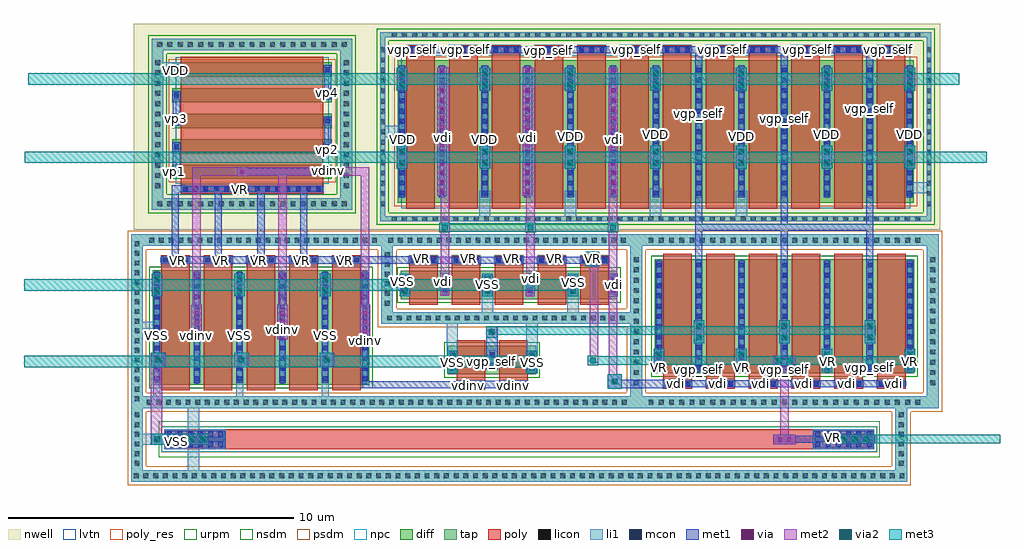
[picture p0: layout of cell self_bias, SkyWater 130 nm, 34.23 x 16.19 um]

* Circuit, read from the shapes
.subckt self_bias VDD VR VSS vdi vdinv vgp_self vp1 vp2 vp3 vp4
XM1 vdinv VR VSS VSS sky130_fd_pr__nfet_01v8 w=4 l=1 m=5
XM2 vdi VR VSS VSS sky130_fd_pr__nfet_01v8 w=1 l=1 m=5
XM3 vgp_self vdinv VSS VSS sky130_fd_pr__nfet_01v8 w=1 l=1 m=2
XM4 vgp_self vdi VR VSS sky130_fd_pr__nfet_01v8 w=4 l=1 m=6
XM5 vdinv VR vp1 VDD sky130_fd_pr__pfet_01v8_lvt w=0.5 l=5
XM6 vp2 VR vp1 VDD sky130_fd_pr__pfet_01v8_lvt w=0.5 l=5
XM7 vp2 VR vp3 VDD sky130_fd_pr__pfet_01v8_lvt w=0.5 l=5
XM8 vp4 VR vp3 VDD sky130_fd_pr__pfet_01v8_lvt w=0.5 l=5
XM9 vp4 VR VDD VDD sky130_fd_pr__pfet_01v8_lvt w=0.5 l=5
XM10 vdi vgp_self VDD VDD sky130_fd_pr__pfet_01v8_lvt w=5 l=1 m=6
XM11 vgp_self vgp_self VDD VDD sky130_fd_pr__pfet_01v8_lvt w=5 l=1 m=6
XR12 VR VSS VSS sky130_fd_pr__res_xhigh_po w=0.69 l=20.58
.ends

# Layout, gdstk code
from math import pi, radians
import gdstk
lib = gdstk.Library(unit=1e-6, precision=1e-09)
def R(c, l, rs):  # rectangles x0, y0, x1, y1
    for r in rs: c.add(gdstk.rectangle(r[:2], r[2:], *l))
def A(c, l, x, y, w, h, nx, ny, dx, dy):  # array of equal rectangles
    R(c, l, [(x+i*dx, y+j*dy, x+i*dx+w, y+j*dy+h) for i in range(nx) for j in range(ny)])
def P(c, l, *ps):  # polygons
    for p in ps: c.add(gdstk.Polygon(p, *l))
nwell = (64, 20)
diff = (65, 20)
tap = (65, 44)
poly_res = (66, 13)
poly = (66, 20)
licon = (66, 44)
li1 = (67, 20)
mcon = (67, 44)
met1 = (68, 20)
via = (68, 44)
met2 = (69, 20)
via2 = (69, 44)
met3 = (70, 20)
urpm = (79, 20)
nsdm = (93, 44)
psdm = (94, 20)
npc = (95, 20)
lvtn = (125, 44)

pfet = lib.new_cell('pfet')
R(pfet, nwell, [(-0.92,-0.945,19.02,6.285)])
R(pfet, diff, [(0,0,18.1,5)])
P(pfet, tap, [(-0.615,-0.64),(-0.615,5.81),(-0.445,5.81),(-0.445,-0.47),(18.545,-0.47),(18.545,5.81),(-0.615,5.81),(-0.615,5.98),(18.715,5.98),(18.715,-0.64)])
A(pfet, poly, 0.3, -0.2, 1, 5.4, 12, 1, 1.5, 0)
A(pfet, poly, 0.3, 5.2, 1, 0.33, 12, 1, 1.5, 0)
A(pfet, licon, -0.215, -0.64, 0.17, 0.17, 52, 2, 0.36, 6.45)
A(pfet, licon, -0.615, -0.115, 0.17, 0.17, 1, 16, 0, 0.36)
A(pfet, licon, 18.545, -0.115, 0.17, 0.17, 1, 16, 0, 0.36)
A(pfet, licon, 0.065, 0.255, 0.17, 0.17, 1, 13, 0, 0.36)
A(pfet, licon, 1.465, 0.255, 0.17, 0.17, 11, 13, 1.5, 0.36)
A(pfet, licon, 17.865, 0.255, 0.17, 0.17, 1, 13, 0, 0.36)
A(pfet, licon, 0.355, 5.28, 0.17, 0.17, 3, 1, 0.36, 0)
A(pfet, licon, 1.855, 5.28, 0.17, 0.17, 3, 1, 0.36, 0)
A(pfet, licon, 3.355, 5.28, 0.17, 0.17, 3, 1, 0.36, 0)
A(pfet, licon, 4.855, 5.28, 0.17, 0.17, 3, 1, 0.36, 0)
A(pfet, licon, 6.355, 5.28, 0.17, 0.17, 3, 1, 0.36, 0)
A(pfet, licon, 7.855, 5.28, 0.17, 0.17, 3, 1, 0.36, 0)
A(pfet, licon, 9.355, 5.28, 0.17, 0.17, 3, 1, 0.36, 0)
A(pfet, licon, 10.855, 5.28, 0.17, 0.17, 3, 1, 0.36, 0)
A(pfet, licon, 12.355, 5.28, 0.17, 0.17, 3, 1, 0.36, 0)
A(pfet, licon, 13.855, 5.28, 0.17, 0.17, 3, 1, 0.36, 0)
A(pfet, licon, 15.355, 5.28, 0.17, 0.17, 3, 1, 0.36, 0)
A(pfet, licon, 16.855, 5.28, 0.17, 0.17, 3, 1, 0.36, 0)
A(pfet, li1, 1.465, 0.175, 0.17, 4.65, 11, 1, 1.5, 0)
A(pfet, li1, 0.275, 5.28, 1.05, 0.17, 12, 1, 1.5, 0)
R(pfet, li1, [(0.065,0.175,0.235,4.825), (17.865,0.175,18.035,4.825)])
P(pfet, li1, [(-0.615,-0.64),(-0.615,5.81),(-0.445,5.81),(-0.445,-0.47),(18.545,-0.47),(18.545,5.81),(-0.615,5.81),(-0.615,5.98),(18.715,5.98),(18.715,-0.64)])
A(pfet, mcon, 0.065, 0.255, 0.17, 0.17, 1, 13, 0, 0.36)
A(pfet, mcon, 1.465, 0.255, 0.17, 0.17, 11, 13, 1.5, 0.36)
A(pfet, mcon, 17.865, 0.255, 0.17, 0.17, 1, 13, 0, 0.36)
A(pfet, mcon, 0.355, 5.28, 0.17, 0.17, 3, 1, 0.36, 0)
A(pfet, mcon, 1.855, 5.28, 0.17, 0.17, 3, 1, 0.36, 0)
A(pfet, mcon, 3.355, 5.28, 0.17, 0.17, 3, 1, 0.36, 0)
A(pfet, mcon, 4.855, 5.28, 0.17, 0.17, 3, 1, 0.36, 0)
A(pfet, mcon, 6.355, 5.28, 0.17, 0.17, 3, 1, 0.36, 0)
A(pfet, mcon, 7.855, 5.28, 0.17, 0.17, 3, 1, 0.36, 0)
A(pfet, mcon, 9.355, 5.28, 0.17, 0.17, 3, 1, 0.36, 0)
A(pfet, mcon, 10.855, 5.28, 0.17, 0.17, 3, 1, 0.36, 0)
A(pfet, mcon, 12.355, 5.28, 0.17, 0.17, 3, 1, 0.36, 0)
A(pfet, mcon, 13.855, 5.28, 0.17, 0.17, 3, 1, 0.36, 0)
A(pfet, mcon, 15.355, 5.28, 0.17, 0.17, 3, 1, 0.36, 0)
A(pfet, mcon, 16.855, 5.28, 0.17, 0.17, 3, 1, 0.36, 0)
A(pfet, met1, 1.435, 0.195, 0.23, 4.61, 11, 1, 1.5, 0)
A(pfet, met1, 0.295, 5.25, 1.01, 0.23, 12, 1, 1.5, 0)
R(pfet, met1, [(0.035,0.195,0.265,4.805), (17.835,0.195,18.065,4.805)])
P(pfet, nsdm, [(-0.74,-0.765),(-0.74,5.685),(-0.32,5.685),(-0.32,-0.345),(18.42,-0.345),(18.42,5.685),(-0.74,5.685),(-0.74,6.105),(18.84,6.105),(18.84,-0.765)])
R(pfet, psdm, [(-0.125,-0.125,18.225,5.125)])
A(pfet, npc, 0.29, 5.19, 1.02, 0.35, 12, 1, 1.5, 0)
R(pfet, lvtn, [(0.12,-0.18,17.98,5.18)])

nfet = lib.new_cell('nfet')
R(nfet, diff, [(0,0,7.6,1)])
A(nfet, poly, 0.3, -0.2, 1, 1.4, 5, 1, 1.5, 0)
A(nfet, poly, 0.3, 1.2, 1, 0.33, 5, 1, 1.5, 0)
A(nfet, licon, 1.465, 0.235, 0.17, 0.17, 4, 2, 1.5, 0.36)
A(nfet, licon, 0.355, 1.28, 0.17, 0.17, 3, 1, 0.36, 0)
A(nfet, licon, 1.855, 1.28, 0.17, 0.17, 3, 1, 0.36, 0)
A(nfet, licon, 3.355, 1.28, 0.17, 0.17, 3, 1, 0.36, 0)
A(nfet, licon, 4.855, 1.28, 0.17, 0.17, 3, 1, 0.36, 0)
A(nfet, licon, 6.355, 1.28, 0.17, 0.17, 3, 1, 0.36, 0)
R(nfet, licon, [(0.065,0.235,0.235,0.405), (7.365,0.235,7.535,0.405), (0.065,0.595,0.235,0.765), (7.365,0.595,7.535,0.765)])
A(nfet, li1, 1.465, 0.155, 0.17, 0.69, 4, 1, 1.5, 0)
A(nfet, li1, 0.275, 1.28, 1.05, 0.17, 5, 1, 1.5, 0)
R(nfet, li1, [(0.065,0.155,0.235,0.845), (7.365,0.155,7.535,0.845)])
A(nfet, mcon, 1.465, 0.235, 0.17, 0.17, 4, 2, 1.5, 0.36)
A(nfet, mcon, 0.355, 1.28, 0.17, 0.17, 3, 1, 0.36, 0)
A(nfet, mcon, 1.855, 1.28, 0.17, 0.17, 3, 1, 0.36, 0)
A(nfet, mcon, 3.355, 1.28, 0.17, 0.17, 3, 1, 0.36, 0)
A(nfet, mcon, 4.855, 1.28, 0.17, 0.17, 3, 1, 0.36, 0)
A(nfet, mcon, 6.355, 1.28, 0.17, 0.17, 3, 1, 0.36, 0)
R(nfet, mcon, [(0.065,0.235,0.235,0.405), (7.365,0.235,7.535,0.405), (0.065,0.595,0.235,0.765), (7.365,0.595,7.535,0.765)])
A(nfet, met1, 1.435, 0.175, 0.23, 0.65, 4, 1, 1.5, 0)
A(nfet, met1, 0.295, 1.25, 1.01, 0.23, 5, 1, 1.5, 0)
R(nfet, met1, [(0.035,0.175,0.265,0.825), (7.335,0.175,7.565,0.825)])
R(nfet, nsdm, [(-0.125,-0.125,7.725,1.125)])
A(nfet, npc, 0.29, 1.19, 1.02, 0.35, 5, 1, 1.5, 0)

nfet_1 = lib.new_cell('nfet$1')
R(nfet_1, diff, [(0,0,9.1,4)])
P(nfet_1, tap, [(-0.855,-0.88),(-0.855,4.81),(-0.445,4.81),(-0.445,-0.47),(9.545,-0.47),(9.545,4.81),(-0.855,4.81),(-0.855,5.22),(9.955,5.22),(9.955,-0.88)])
A(nfet_1, poly, 0.3, -0.2, 1, 4.4, 6, 1, 1.5, 0)
A(nfet_1, poly, 0.3, 4.2, 1, 0.33, 6, 1, 1.5, 0)
A(nfet_1, licon, -0.215, -0.76, 0.17, 0.17, 27, 2, 0.36, 5.69)
A(nfet_1, licon, -0.735, -0.075, 0.17, 0.17, 1, 13, 0, 0.36)
A(nfet_1, licon, 9.665, -0.075, 0.17, 0.17, 1, 13, 0, 0.36)
A(nfet_1, licon, 0.065, 0.115, 0.17, 0.17, 1, 11, 0, 0.36)
A(nfet_1, licon, 1.465, 0.115, 0.17, 0.17, 5, 11, 1.5, 0.36)
A(nfet_1, licon, 8.865, 0.115, 0.17, 0.17, 1, 11, 0, 0.36)
A(nfet_1, licon, 0.355, 4.28, 0.17, 0.17, 3, 1, 0.36, 0)
A(nfet_1, licon, 1.855, 4.28, 0.17, 0.17, 3, 1, 0.36, 0)
A(nfet_1, licon, 3.355, 4.28, 0.17, 0.17, 3, 1, 0.36, 0)
A(nfet_1, licon, 4.855, 4.28, 0.17, 0.17, 3, 1, 0.36, 0)
A(nfet_1, licon, 6.355, 4.28, 0.17, 0.17, 3, 1, 0.36, 0)
A(nfet_1, licon, 7.855, 4.28, 0.17, 0.17, 3, 1, 0.36, 0)
A(nfet_1, li1, 1.465, 0.035, 0.17, 3.93, 5, 1, 1.5, 0)
A(nfet_1, li1, 0.275, 4.28, 1.05, 0.17, 6, 1, 1.5, 0)
R(nfet_1, li1, [(0.065,0.035,0.235,3.965), (8.865,0.035,9.035,3.965)])
P(nfet_1, li1, [(-0.855,-0.88),(-0.855,4.81),(-0.445,4.81),(-0.445,-0.47),(9.545,-0.47),(9.545,4.81),(-0.855,4.81),(-0.855,5.22),(9.955,5.22),(9.955,-0.88)])
A(nfet_1, mcon, 0.065, 0.115, 0.17, 0.17, 1, 11, 0, 0.36)
A(nfet_1, mcon, 1.465, 0.115, 0.17, 0.17, 5, 11, 1.5, 0.36)
A(nfet_1, mcon, 8.865, 0.115, 0.17, 0.17, 1, 11, 0, 0.36)
A(nfet_1, mcon, 0.355, 4.28, 0.17, 0.17, 3, 1, 0.36, 0)
A(nfet_1, mcon, 1.855, 4.28, 0.17, 0.17, 3, 1, 0.36, 0)
A(nfet_1, mcon, 3.355, 4.28, 0.17, 0.17, 3, 1, 0.36, 0)
A(nfet_1, mcon, 4.855, 4.28, 0.17, 0.17, 3, 1, 0.36, 0)
A(nfet_1, mcon, 6.355, 4.28, 0.17, 0.17, 3, 1, 0.36, 0)
A(nfet_1, mcon, 7.855, 4.28, 0.17, 0.17, 3, 1, 0.36, 0)
A(nfet_1, met1, 1.435, 0.055, 0.23, 3.89, 5, 1, 1.5, 0)
A(nfet_1, met1, 0.295, 4.25, 1.01, 0.23, 6, 1, 1.5, 0)
R(nfet_1, met1, [(0.035,0.055,0.265,3.945), (8.835,0.055,9.065,3.945)])
R(nfet_1, nsdm, [(-0.125,-0.125,9.225,4.125)])
P(nfet_1, psdm, [(-0.98,-1.005),(-0.98,4.685),(-0.32,4.685),(-0.32,-0.345),(9.42,-0.345),(9.42,4.685),(-0.98,4.685),(-0.98,5.345),(10.08,5.345),(10.08,-1.005)])
A(nfet_1, npc, 0.29, 4.19, 1.02, 0.35, 6, 1, 1.5, 0)

vias_gen_3 = lib.new_cell('vias_gen$3')
R(vias_gen_3, tap, [(0,0,0.41,2.32)])
A(vias_gen_3, licon, 0.12, 0.225, 0.17, 0.17, 1, 6, 0, 0.34)
R(vias_gen_3, li1, [(0,0,0.41,2.32)])
R(vias_gen_3, psdm, [(-0.125,-0.125,0.535,2.445)])

vias_gen = lib.new_cell('vias_gen')
R(vias_gen, tap, [(0,0,8.66,0.41)])
A(vias_gen, licon, 0.165, 0.12, 0.17, 0.17, 25, 1, 0.34, 0)
R(vias_gen, li1, [(0,0,8.66,0.41)])
R(vias_gen, psdm, [(-0.125,-0.125,8.785,0.535)])

nfet_5 = lib.new_cell('nfet$5')
R(nfet_5, diff, [(0,0,3.1,1)])
R(nfet_5, poly, [(0.3,-0.2,1.3,1.2), (1.8,-0.2,2.8,1.2), (0.3,1.2,1.3,1.53), (1.8,1.2,2.8,1.53)])
A(nfet_5, licon, 0.065, 0.235, 0.17, 0.17, 3, 2, 1.4, 0.36)
A(nfet_5, licon, 0.355, 1.28, 0.17, 0.17, 3, 1, 0.36, 0)
A(nfet_5, licon, 1.855, 1.28, 0.17, 0.17, 3, 1, 0.36, 0)
A(nfet_5, li1, 0.065, 0.155, 0.17, 0.69, 3, 1, 1.4, 0)
R(nfet_5, li1, [(0.275,1.28,1.325,1.45), (1.775,1.28,2.825,1.45)])
A(nfet_5, mcon, 0.065, 0.235, 0.17, 0.17, 3, 2, 1.4, 0.36)
A(nfet_5, mcon, 0.355, 1.28, 0.17, 0.17, 3, 1, 0.36, 0)
A(nfet_5, mcon, 1.855, 1.28, 0.17, 0.17, 3, 1, 0.36, 0)
A(nfet_5, met1, 0.035, 0.175, 0.23, 0.65, 3, 1, 1.4, 0)
R(nfet_5, met1, [(0.295,1.25,1.305,1.48), (1.795,1.25,2.805,1.48)])
R(nfet_5, nsdm, [(-0.125,-0.125,3.225,1.125)])
R(nfet_5, npc, [(0.29,1.19,1.31,1.54), (1.79,1.19,2.81,1.54)])

res_poly = lib.new_cell('res_poly')
R(res_poly, poly_res, [(-0.345,-10.35,0.345,10.35)])
R(res_poly, poly, [(-0.345,-12.45,0.345,12.45)])
R(res_poly, licon, [(-0.095,-12.37,0.095,-10.37), (-0.095,10.37,0.095,12.37)])
R(res_poly, li1, [(-0.345,-12.45,0.345,-10.29), (-0.345,10.29,0.345,12.45)])
A(res_poly, mcon, -0.265, -12.35, 0.17, 0.17, 1, 6, 0, 0.36)
A(res_poly, mcon, 0.095, -12.35, 0.17, 0.17, 1, 6, 0, 0.36)
A(res_poly, mcon, -0.265, 10.385, 0.17, 0.17, 1, 6, 0, 0.36)
A(res_poly, mcon, 0.095, 10.385, 0.17, 0.17, 1, 6, 0, 0.36)
R(res_poly, met1, [(-0.295,-12.42,0.295,-10.315), (-0.295,10.315,0.295,12.42)])
R(res_poly, urpm, [(-0.635,-12.65,0.635,12.65)])
R(res_poly, psdm, [(-0.455,-12.56,0.455,12.56)])
R(res_poly, npc, [(-0.44,-12.545,0.44,12.545)])

nfet_3 = lib.new_cell('nfet$3')
R(nfet_3, diff, [(0,0,7.6,4)])
A(nfet_3, poly, 0.3, -0.2, 1, 4.4, 5, 1, 1.5, 0)
A(nfet_3, poly, 0.3, 4.2, 1, 0.33, 5, 1, 1.5, 0)
A(nfet_3, licon, 0.065, 0.115, 0.17, 0.17, 1, 11, 0, 0.36)
A(nfet_3, licon, 1.465, 0.115, 0.17, 0.17, 4, 11, 1.5, 0.36)
A(nfet_3, licon, 7.365, 0.115, 0.17, 0.17, 1, 11, 0, 0.36)
A(nfet_3, licon, 0.355, 4.28, 0.17, 0.17, 3, 1, 0.36, 0)
A(nfet_3, licon, 1.855, 4.28, 0.17, 0.17, 3, 1, 0.36, 0)
A(nfet_3, licon, 3.355, 4.28, 0.17, 0.17, 3, 1, 0.36, 0)
A(nfet_3, licon, 4.855, 4.28, 0.17, 0.17, 3, 1, 0.36, 0)
A(nfet_3, licon, 6.355, 4.28, 0.17, 0.17, 3, 1, 0.36, 0)
A(nfet_3, li1, 1.465, 0.035, 0.17, 3.93, 4, 1, 1.5, 0)
A(nfet_3, li1, 0.275, 4.28, 1.05, 0.17, 5, 1, 1.5, 0)
R(nfet_3, li1, [(0.065,0.035,0.235,3.965), (7.365,0.035,7.535,3.965)])
A(nfet_3, mcon, 0.065, 0.115, 0.17, 0.17, 1, 11, 0, 0.36)
A(nfet_3, mcon, 1.465, 0.115, 0.17, 0.17, 4, 11, 1.5, 0.36)
A(nfet_3, mcon, 7.365, 0.115, 0.17, 0.17, 1, 11, 0, 0.36)
A(nfet_3, mcon, 0.355, 4.28, 0.17, 0.17, 3, 1, 0.36, 0)
A(nfet_3, mcon, 1.855, 4.28, 0.17, 0.17, 3, 1, 0.36, 0)
A(nfet_3, mcon, 3.355, 4.28, 0.17, 0.17, 3, 1, 0.36, 0)
A(nfet_3, mcon, 4.855, 4.28, 0.17, 0.17, 3, 1, 0.36, 0)
A(nfet_3, mcon, 6.355, 4.28, 0.17, 0.17, 3, 1, 0.36, 0)
A(nfet_3, met1, 1.435, 0.055, 0.23, 3.89, 4, 1, 1.5, 0)
A(nfet_3, met1, 0.295, 4.25, 1.01, 0.23, 5, 1, 1.5, 0)
R(nfet_3, met1, [(0.035,0.055,0.265,3.945), (7.335,0.055,7.565,3.945)])
R(nfet_3, nsdm, [(-0.125,-0.125,7.725,4.125)])
A(nfet_3, npc, 0.29, 4.19, 1.02, 0.35, 5, 1, 1.5, 0)

vias_gen_1 = lib.new_cell('vias_gen$1')
R(vias_gen_1, tap, [(0,0,17.1,0.41)])
A(vias_gen_1, licon, 0.135, 0.12, 0.17, 0.17, 50, 1, 0.34, 0)
R(vias_gen_1, li1, [(0,0,17.1,0.41)])
R(vias_gen_1, psdm, [(-0.125,-0.125,17.225,0.535)])

vias_gen_2 = lib.new_cell('vias_gen$2')
R(vias_gen_2, tap, [(0,0,8.45,0.41)])
A(vias_gen_2, licon, 0.23, 0.12, 0.17, 0.17, 24, 1, 0.34, 0)
R(vias_gen_2, li1, [(0,0,8.45,0.41)])
R(vias_gen_2, psdm, [(-0.125,-0.125,8.575,0.535)])

vias_gen_4 = lib.new_cell('vias_gen$4')
R(vias_gen_4, tap, [(0,0,0.41,6.1)])
A(vias_gen_4, licon, 0.12, 0.245, 0.17, 0.17, 1, 17, 0, 0.34)
R(vias_gen_4, li1, [(0,0,0.41,6.1)])
R(vias_gen_4, psdm, [(-0.125,-0.125,0.535,6.225)])

guard_ring_gen = lib.new_cell('guard_ring_gen')
P(guard_ring_gen, tap, [(-0.41,-0.41),(-0.41,5.18),(0,5.18),(0,0),(6.21,0),(6.21,5.18),(-0.41,5.18),(-0.41,5.59),(6.62,5.59),(6.62,-0.41)])
A(guard_ring_gen, licon, -0.22, -0.29, 0.17, 0.17, 19, 2, 0.36, 5.59)
A(guard_ring_gen, licon, -0.29, 0.345, 0.17, 0.17, 1, 13, 0, 0.36)
A(guard_ring_gen, licon, 6.33, 0.345, 0.17, 0.17, 1, 13, 0, 0.36)
P(guard_ring_gen, li1, [(-0.41,-0.41),(-0.41,5.18),(0,5.18),(0,0),(6.21,0),(6.21,5.18),(-0.41,5.18),(-0.41,5.59),(6.62,5.59),(6.62,-0.41)])
P(guard_ring_gen, nsdm, [(-0.535,-0.535),(-0.535,5.055),(0.125,5.055),(0.125,0.125),(6.085,0.125),(6.085,5.055),(-0.535,5.055),(-0.535,5.715),(6.745,5.715),(6.745,-0.535)])

vias_gen_8 = lib.new_cell('vias_gen$8')
R(vias_gen_8, tap, [(0,0,27.21,0.41)])
A(vias_gen_8, licon, 0.09, 0.12, 0.17, 0.17, 80, 1, 0.34, 0)
R(vias_gen_8, li1, [(0,0,27.21,0.41)])
R(vias_gen_8, psdm, [(-0.125,-0.125,27.335,0.535)])

vias_gen_7 = lib.new_cell('vias_gen$7')
R(vias_gen_7, tap, [(0,0,0.41,2.17)])
A(vias_gen_7, licon, 0.12, 0.15, 0.17, 0.17, 1, 6, 0, 0.34)
R(vias_gen_7, li1, [(0,0,0.41,2.17)])
R(vias_gen_7, psdm, [(-0.125,-0.125,0.535,2.295)])

vias_gen_9 = lib.new_cell('vias_gen$9')
R(vias_gen_9, tap, [(0,0,8.74,0.41)])
A(vias_gen_9, licon, 0.205, 0.12, 0.17, 0.17, 25, 1, 0.34, 0)
R(vias_gen_9, li1, [(0,0,8.74,0.41)])
R(vias_gen_9, psdm, [(-0.125,-0.125,8.865,0.535)])

vias_gen_10 = lib.new_cell('vias_gen$10')
R(vias_gen_10, met1, [(0,0,0.32,0.8)])
R(vias_gen_10, via, [(0.085,0.165,0.235,0.315), (0.085,0.485,0.235,0.635)])
R(vias_gen_10, met2, [(0,0,0.32,0.8)])

vias_gen_12 = lib.new_cell('vias_gen$12')
R(vias_gen_12, met1, [(0,0,0.32,4.5)])
A(vias_gen_12, via, 0.085, 0.095, 0.15, 0.15, 1, 14, 0, 0.32)
R(vias_gen_12, met2, [(0,0,0.32,4.5)])

vias_gen_15 = lib.new_cell('vias_gen$15')
R(vias_gen_15, met2, [(0,0,0.37,0.33)])
R(vias_gen_15, via2, [(0.085,0.065,0.285,0.265)])
R(vias_gen_15, met3, [(0,0,0.37,0.33)])

vias_gen_14 = lib.new_cell('vias_gen$14')
R(vias_gen_14, met1, [(0,0,0.37,0.8)])
R(vias_gen_14, via, [(0.11,0.165,0.26,0.315), (0.11,0.485,0.26,0.635)])
R(vias_gen_14, met2, [(0,0,0.37,0.8)])
R(vias_gen_14, via2, [(0.085,0.1,0.285,0.3), (0.085,0.5,0.285,0.7)])
R(vias_gen_14, met3, [(0,0,0.37,0.8)])

vias_gen_16 = lib.new_cell('vias_gen$16')
R(vias_gen_16, met2, [(0,0,0.8,0.33)])
R(vias_gen_16, via2, [(0.1,0.065,0.3,0.265), (0.5,0.065,0.7,0.265)])
R(vias_gen_16, met3, [(0,0,0.8,0.33)])

vias_gen_18 = lib.new_cell('vias_gen$18')
R(vias_gen_18, met1, [(0,0,0.8,0.33)])
R(vias_gen_18, via, [(0.165,0.09,0.315,0.24), (0.485,0.09,0.635,0.24)])
R(vias_gen_18, met2, [(0,0,0.8,0.33)])

vias_gen_19 = lib.new_cell('vias_gen$19')
R(vias_gen_19, met1, [(0,0,0.37,0.4)])
R(vias_gen_19, via, [(0.11,0.125,0.26,0.275)])
R(vias_gen_19, met2, [(0,0,0.37,0.4)])
R(vias_gen_19, via2, [(0.085,0.1,0.285,0.3)])
R(vias_gen_19, met3, [(0,0,0.37,0.4)])

vias_gen_21 = lib.new_cell('vias_gen$21')
R(vias_gen_21, met1, [(0,0,0.37,1.2)])
A(vias_gen_21, via, 0.11, 0.205, 0.15, 0.15, 1, 3, 0, 0.32)
R(vias_gen_21, met2, [(0,0,0.37,1.2)])

vias_gen_22 = lib.new_cell('vias_gen$22')
R(vias_gen_22, met1, [(0,0,0.37,0.33)])
R(vias_gen_22, via, [(0.11,0.09,0.26,0.24)])
R(vias_gen_22, met2, [(0,0,0.37,0.33)])

vias_gen_23 = lib.new_cell('vias_gen$23')
R(vias_gen_23, met1, [(0,0,2,0.4)])
A(vias_gen_23, via, 0.125, 0.125, 0.15, 0.15, 6, 1, 0.32, 0)
R(vias_gen_23, met2, [(0,0,2,0.4)])
A(vias_gen_23, via2, 0.1, 0.1, 0.2, 0.2, 5, 1, 0.4, 0)
R(vias_gen_23, met3, [(0,0,2,0.4)])

vias_gen_24 = lib.new_cell('vias_gen$24')
R(vias_gen_24, met1, [(0,0,0.5,0.5)])
R(vias_gen_24, via, [(0.175,0.175,0.325,0.325)])
R(vias_gen_24, met2, [(0,0,0.5,0.5)])
R(vias_gen_24, via2, [(0.15,0.15,0.35,0.35)])
R(vias_gen_24, met3, [(0,0,0.5,0.5)])

vias_gen_27 = lib.new_cell('vias_gen$27')
R(vias_gen_27, met1, [(0,0,1.2,0.33)])
A(vias_gen_27, via, 0.205, 0.09, 0.15, 0.15, 3, 1, 0.32, 0)
R(vias_gen_27, met2, [(0,0,1.2,0.33)])
A(vias_gen_27, via2, 0.1, 0.065, 0.2, 0.2, 3, 1, 0.4, 0)
R(vias_gen_27, met3, [(0,0,1.2,0.33)])

self_bias = lib.new_cell('self_bias')
R(self_bias, nwell, [(0.495,7.04,28.78,14.275), (1.71,7.91,7.92,13.34)])
A(self_bias, diff, 1.85, 9.715, 5.6, 0.5, 1, 4, 0, 0.9)
R(self_bias, diff, [(1.85,8.835,7.45,9.335)])
A(self_bias, poly, 2.15, 9.515, 5, 0.9, 1, 4, 0, 0.9)
R(self_bias, poly, [(2.15,8.31,7.15,8.64), (2.15,8.635,7.15,9.535)])
A(self_bias, licon, 2.225, 8.39, 0.17, 0.17, 14, 1, 0.36, 0)
A(self_bias, licon, 1.915, 9.88, 0.17, 0.17, 1, 4, 0, 0.9)
A(self_bias, licon, 7.215, 9.88, 0.17, 0.17, 1, 4, 0, 0.9)
R(self_bias, licon, [(1.915,9,2.085,9.17), (7.215,9,7.385,9.17)])
A(self_bias, li1, 1.915, 9.8, 0.17, 0.33, 1, 4, 0, 0.9)
A(self_bias, li1, 7.215, 9.8, 0.17, 0.33, 1, 4, 0, 0.9)
R(self_bias, li1, [(2.145,8.39,7.155,8.56), (1.915,8.92,2.085,9.25), (7.215,8.92,7.385,9.25)])
A(self_bias, mcon, 2.225, 8.39, 0.17, 0.17, 14, 1, 0.36, 0)
A(self_bias, mcon, 1.915, 9.88, 0.17, 0.17, 1, 4, 0, 0.9)
A(self_bias, mcon, 7.215, 9.88, 0.17, 0.17, 1, 4, 0, 0.9)
R(self_bias, mcon, [(1.915,9,2.085,9.17), (7.215,9,7.385,9.17)])
A(self_bias, met1, 1.855, 9.82, 0.29, 0.29, 1, 4, 0, 0.9)
A(self_bias, met1, 7.155, 9.82, 0.29, 0.29, 1, 4, 0, 0.9)
R(self_bias, met1, [(2.165,8.36,7.135,8.59), (1.855,8.94,2.145,9.23)])
R(self_bias, psdm, [(1.725,8.71,7.575,13.03)])
R(self_bias, npc, [(2.14,8.3,7.16,8.65)])
R(self_bias, lvtn, [(1.97,8.655,7.33,13.1)])
self_bias.add(gdstk.FlexPath([(1.31,3.705),(0.41,3.705)], 0.25, ends="flush", simple_path=True, layer=67, datatype=20))  # li1
self_bias.add(gdstk.FlexPath([(1.31,1.905),(1.31,0.79)], 0.25, ends="flush", simple_path=True, layer=67, datatype=20))  # li1
self_bias.add(gdstk.FlexPath([(4.22,2.16),(4.22,0.79)], 0.25, ends="flush", simple_path=True, layer=67, datatype=20))  # li1
self_bias.add(gdstk.FlexPath([(7.21,2.455),(7.21,0.79)], 0.25, ends="flush", simple_path=True, layer=67, datatype=20))  # li1
self_bias.add(gdstk.FlexPath([(2.15,12.665),(1.13,12.665)], 0.5, ends="flush", simple_path=True, layer=67, datatype=20))  # li1
self_bias.add(gdstk.FlexPath([(10.125,5.11),(9.18,5.11)], 0.4, ends="flush", simple_path=True, layer=67, datatype=20))  # li1
self_bias.add(gdstk.FlexPath([(12.91,5.435),(12.91,3.75)], 0.4, ends="flush", simple_path=True, layer=67, datatype=20))  # li1
self_bias.add(gdstk.FlexPath([(15.91,5.435),(15.91,3.87)], 0.4, ends="flush", simple_path=True, layer=67, datatype=20))  # li1
self_bias.add(gdstk.FlexPath([(18.8,8.51),(18.8,7.35)], 0.4, ends="flush", simple_path=True, layer=67, datatype=20))  # li1
self_bias.add(gdstk.FlexPath([(21.81,8.415),(21.81,7.35)], 0.4, ends="flush", simple_path=True, layer=67, datatype=20))  # li1
self_bias.add(gdstk.FlexPath([(27.595,8.52),(28.475,8.52)], 0.4, ends="flush", simple_path=True, layer=67, datatype=20))  # li1
self_bias.add(gdstk.FlexPath([(15.81,8.415),(15.81,7.35)], 0.4, ends="flush", simple_path=True, layer=67, datatype=20))  # li1
self_bias.add(gdstk.FlexPath([(12.81,8.415),(12.81,7.35)], 0.4, ends="flush", simple_path=True, layer=67, datatype=20))  # li1
self_bias.add(gdstk.FlexPath([(10.025,10.49),(9.145,10.49)], 0.4, ends="flush", simple_path=True, layer=67, datatype=20))  # li1
self_bias.add(gdstk.FlexPath([(1.59,-0.3),(0.41,-0.3)], 0.4, ends="flush", simple_path=True, layer=67, datatype=20))  # li1
self_bias.add(gdstk.FlexPath([(2.59,-0.005),(2.59,1.2)], 0.4, ends="flush", simple_path=True, layer=67, datatype=20))  # li1
self_bias.add(gdstk.FlexPath([(2.59,-0.395),(2.59,-1.5)], 0.4, ends="flush", simple_path=True, layer=67, datatype=20))  # li1
self_bias.add(gdstk.FlexPath([(14.47,2.375),(14.47,4.04)], 0.4, ends="flush", simple_path=True, layer=67, datatype=20))  # li1
self_bias.add(gdstk.FlexPath([(11.67,2.375),(11.67,4.16)], 0.4, ends="flush", simple_path=True, layer=67, datatype=20))  # li1
self_bias.add(gdstk.FlexPath([(14.47,2.93),(14.47,2.01)], 0.4, ends="flush", simple_path=True, layer=67, datatype=20))  # li1
self_bias.add(gdstk.FlexPath([(20.31,12.815),(20.31,2.065)], 0.25, ends="flush", simple_path=True, layer=68, datatype=20))  # met1
self_bias.add(gdstk.FlexPath([(26.31,12.815),(26.31,2.065)], 0.25, ends="flush", simple_path=True, layer=68, datatype=20))  # met1
self_bias.add(gdstk.FlexPath([(17.165,5.975),(10.135,5.975)], 0.25, ends="flush", simple_path=True, layer=68, datatype=20))  # met1
self_bias.add(gdstk.FlexPath([(10.055,13.355),(27.585,13.355)], 0.25, ends="flush", simple_path=True, layer=68, datatype=20))  # met1
self_bias.add(gdstk.FlexPath([(26.31,12.735),(26.31,13.355)], 0.25, ends="flush", simple_path=True, layer=68, datatype=20))  # met1
self_bias.add(gdstk.FlexPath([(23.31,12.565),(23.31,13.48)], 0.25, ends="flush", simple_path=True, layer=68, datatype=20))  # met1
self_bias.add(gdstk.FlexPath([(20.31,12.565),(20.31,13.48)], 0.25, ends="flush", simple_path=True, layer=68, datatype=20))  # met1
self_bias.add(gdstk.FlexPath([(27.515,1.645),(19.045,1.645)], 0.25, ends="flush", simple_path=True, layer=68, datatype=20))  # met1
self_bias.add(gdstk.FlexPath([(26.435,7.14),(20.185,7.14)], 0.25, ends="flush", simple_path=True, layer=68, datatype=20))  # met1
self_bias.add(gdstk.FlexPath([(23.31,12.815),(23.31,2.045)], 0.25, ends="flush", simple_path=True, layer=68, datatype=20))  # met1
self_bias.add(gdstk.FlexPath([(22.92,-0.305),(26.5,-0.305)], 0.25, ends="flush", simple_path=True, layer=68, datatype=20))  # met1
self_bias.add(gdstk.FlexPath([(7.44,9.085),(4.12,9.085)], 0.25, ends="flush", simple_path=True, layer=68, datatype=20))  # met1
self_bias.add(gdstk.FlexPath([(2,8.94),(2,10.11)], 0.25, ends="flush", simple_path=True, layer=68, datatype=20))  # met1
self_bias.add(gdstk.FlexPath([(7.3,9.82),(7.3,11.01)], 0.25, ends="flush", simple_path=True, layer=68, datatype=20))  # met1
self_bias.add(gdstk.FlexPath([(2,10.72),(2,11.91)], 0.25, ends="flush", simple_path=True, layer=68, datatype=20))  # met1
self_bias.add(gdstk.FlexPath([(7.3,11.62),(7.3,12.81)], 0.25, ends="flush", simple_path=True, layer=68, datatype=20))  # met1
self_bias.add(gdstk.FlexPath([(6.46,5.87),(6.46,8.56)], 0.25, ends="flush", simple_path=True, layer=68, datatype=20))  # met1
self_bias.add(gdstk.FlexPath([(4.96,5.87),(4.96,8.56)], 0.25, ends="flush", simple_path=True, layer=68, datatype=20))  # met1
self_bias.add(gdstk.FlexPath([(3.46,5.87),(3.46,8.56)], 0.25, ends="flush", simple_path=True, layer=68, datatype=20))  # met1
self_bias.add(gdstk.FlexPath([(1.96,5.9),(1.96,8.48),(2.3,8.48)], 0.25, ends="flush", simple_path=True, layer=68, datatype=20))  # met1
self_bias.add(gdstk.FlexPath([(1.455,5.985),(8.32,5.985)], 0.25, ends="flush", simple_path=True, layer=68, datatype=20))  # met1
self_bias.add(gdstk.FlexPath([(11.81,1.62),(14.32,1.62)], 0.25, ends="flush", simple_path=True, layer=68, datatype=20))  # met1
self_bias.add(gdstk.FlexPath([(8.235,5.985),(10.935,5.985)], 0.25, ends="flush", simple_path=True, layer=68, datatype=20))  # met1
self_bias.add(gdstk.FlexPath([(13.07,2.135),(13.07,3.66)], 0.4, ends="flush", simple_path=True, layer=68, datatype=20))  # met1
self_bias.add(gdstk.FlexPath([(12.045,1.615),(8.495,1.615)], 0.25, ends="flush", simple_path=True, layer=68, datatype=20))  # met1
self_bias.add(gdstk.FlexPath([(19.295,1.645),(17.12,1.645)], 0.3, ends="flush", simple_path=True, layer=68, datatype=20))  # met1
self_bias.add(gdstk.FlexPath([(11.41,4.73),(11.41,12.74)], 0.3, ends="flush", simple_path=True, layer=69, datatype=20))  # met2
self_bias.add(gdstk.FlexPath([(14.41,4.71),(14.41,12.735)], 0.3, ends="flush", simple_path=True, layer=69, datatype=20))  # met2
self_bias.add(gdstk.FlexPath([(17.31,4.7),(17.31,12.73)], 0.3, ends="flush", simple_path=True, layer=69, datatype=20))  # met2
self_bias.add(gdstk.FlexPath([(23.32,2.63),(23.32,-0.47)], 0.3, ends="flush", simple_path=True, layer=69, datatype=20))  # met2
self_bias.add(gdstk.FlexPath([(2.705,4.2),(2.705,9.235)], 0.3, ends="flush", simple_path=True, layer=69, datatype=20))  # met2
self_bias.add(gdstk.FlexPath([(5.71,4.2),(5.71,9.235)], 0.3, ends="flush", simple_path=True, layer=69, datatype=20))  # met2
self_bias.add(gdstk.FlexPath([(8.61,4.2),(8.61,9.23)], 0.3, ends="flush", simple_path=True, layer=69, datatype=20))  # met2
self_bias.add(gdstk.FlexPath([(7.45,9.085),(2.555,9.085)], 0.3, ends="flush", simple_path=True, layer=69, datatype=20))  # met2
self_bias.add(gdstk.FlexPath([(7.07,9.085),(8.76,9.085)], 0.3, ends="flush", simple_path=True, layer=69, datatype=20))  # met2
self_bias.add(gdstk.FlexPath([(16.645,6.13),(16.645,2.3)], 0.3, ends="flush", simple_path=True, layer=69, datatype=20))  # met2
self_bias.add(gdstk.FlexPath([(1.29,2.73),(1.29,-0.5)], 0.4, ends="flush", simple_path=True, layer=69, datatype=20))  # met2
self_bias.add(gdstk.FlexPath([(17.31,5.015),(17.31,1.48)], 0.3, ends="flush", simple_path=True, layer=69, datatype=20))  # met2
self_bias.add(gdstk.FlexPath([(17.49,7.125),(11.22,7.125)], 0.3, ends="flush", simple_path=True, layer=70, datatype=20))  # met3
self_bias.add(gdstk.FlexPath([(27.91,2.47),(18.73,2.47)], 0.3, ends="flush", simple_path=True, layer=70, datatype=20))  # met3
self_bias.add(gdstk.FlexPath([(12.87,3.51),(26.52,3.51)], 0.3, ends="flush", simple_path=True, layer=70, datatype=20))  # met3
self_bias.add(gdstk.FlexPath([(19.1,2.47),(16.495,2.47)], 0.3, ends="flush", simple_path=True, layer=70, datatype=20))  # met3
self_bias.add(gdstk.FlexPath([(29.45,12.33),(-3.2,12.33)], 0.4, ends="flush", simple_path=True, layer=70, datatype=20))  # met3
self_bias.add(gdstk.FlexPath([(30.42,9.59),(-3.33,9.59)], 0.4, ends="flush", simple_path=True, layer=70, datatype=20))  # met3
self_bias.add(gdstk.FlexPath([(16.09,5.11),(-3.35,5.11)], 0.4, ends="flush", simple_path=True, layer=70, datatype=20))  # met3
self_bias.add(gdstk.FlexPath([(14.65,2.43),(-3.35,2.43)], 0.4, ends="flush", simple_path=True, layer=70, datatype=20))  # met3
self_bias.add(gdstk.FlexPath([(25.2,-0.295),(30.88,-0.295)], 0.3, ends="flush", simple_path=True, layer=70, datatype=20))  # met3
self_bias.add(gdstk.Reference(pfet, (9.76,7.99)))
self_bias.add(gdstk.Reference(nfet, (9.86,4.61)))
self_bias.add(gdstk.Reference(nfet_1, (18.77,6.01), x_reflection=True))
self_bias.add(gdstk.Reference(vias_gen_3, (9.18,4.16)))
self_bias.add(gdstk.Reference(vias_gen, (9.26,6.48)))
self_bias.add(gdstk.Reference(nfet_5, (11.52,2.98), x_reflection=True))
self_bias.add(gdstk.Reference(res_poly, (14.02,-0.3), rotation=3*pi/2))
self_bias.add(gdstk.Reference(nfet_3, (1.16,1.62)))
self_bias.add(gdstk.Reference(vias_gen_1, (0.82,0.79)))
self_bias.add(gdstk.Reference(vias_gen_2, (0.81,6.48)))
self_bias.add(gdstk.Reference(vias_gen_4, (0.41,0.79)))
self_bias.add(gdstk.Reference(guard_ring_gen, (1.54,8.16)))
self_bias.add(gdstk.Reference(vias_gen_8, (0.41,-1.79)))
self_bias.add(gdstk.Reference(vias_gen_7, (27.21,-1.38)))
self_bias.add(gdstk.Reference(vias_gen_7, (0.41,-1.38)))
self_bias.add(gdstk.Reference(vias_gen_9, (9.18,3.75)))
self_bias.add(gdstk.Reference(vias_gen_10, (11.25,4.73)))
self_bias.add(gdstk.Reference(vias_gen_10, (14.25,4.71)))
self_bias.add(gdstk.Reference(vias_gen_10, (17.15,4.7)))
self_bias.add(gdstk.Reference(vias_gen_12, (11.15,8.24)))
self_bias.add(gdstk.Reference(vias_gen_12, (14.15,8.24)))
self_bias.add(gdstk.Reference(vias_gen_12, (17.15,8.23)))
self_bias.add(gdstk.Reference(vias_gen_15, (11.22,6.96)))
self_bias.add(gdstk.Reference(vias_gen_15, (14.23,6.96)))
self_bias.add(gdstk.Reference(vias_gen_15, (17.12,6.96)))
self_bias.add(gdstk.Reference(vias_gen_14, (21.62,2.07)))
self_bias.add(gdstk.Reference(vias_gen_14, (18.73,2.07)))
self_bias.add(gdstk.Reference(vias_gen_14, (24.63,2.07)))
self_bias.add(gdstk.Reference(vias_gen_14, (27.54,2.07)))
self_bias.add(gdstk.Reference(vias_gen_16, (22.92,2.3)))
self_bias.add(gdstk.Reference(vias_gen_18, (22.92,-0.47)))
self_bias.add(gdstk.Reference(vias_gen_14, (23.13,3.07)))
self_bias.add(gdstk.Reference(vias_gen_14, (20.14,3.07)))
self_bias.add(gdstk.Reference(vias_gen_14, (26.14,3.07)))
self_bias.add(gdstk.Reference(vias_gen_19, (12.87,3.26)))
self_bias.add(gdstk.Reference(vias_gen_21, (5.53,3.21)))
self_bias.add(gdstk.Reference(vias_gen_21, (2.52,3.21)))
self_bias.add(gdstk.Reference(vias_gen_21, (8.42,3.21)))
self_bias.add(gdstk.Reference(vias_gen_22, (4.12,8.92)))
self_bias.add(gdstk.Reference(vias_gen_22, (7.07,8.92)))
self_bias.add(gdstk.Reference(vias_gen_15, (16.42,2.3)))
self_bias.add(gdstk.Reference(vias_gen_14, (9.72,9.195)))
self_bias.add(gdstk.Reference(vias_gen_14, (12.63,9.195)))
self_bias.add(gdstk.Reference(vias_gen_14, (15.62,9.195)))
self_bias.add(gdstk.Reference(vias_gen_14, (18.62,9.195)))
self_bias.add(gdstk.Reference(vias_gen_14, (21.62,9.195)))
self_bias.add(gdstk.Reference(vias_gen_14, (24.62,9.195)))
self_bias.add(gdstk.Reference(vias_gen_14, (27.53,9.195)))
self_bias.add(gdstk.Reference(vias_gen_14, (27.53,11.93)))
self_bias.add(gdstk.Reference(vias_gen_14, (24.62,11.93)))
self_bias.add(gdstk.Reference(vias_gen_14, (21.62,11.93)))
self_bias.add(gdstk.Reference(vias_gen_14, (18.62,11.93)))
self_bias.add(gdstk.Reference(vias_gen_14, (15.62,11.93)))
self_bias.add(gdstk.Reference(vias_gen_14, (12.63,11.93)))
self_bias.add(gdstk.Reference(vias_gen_14, (9.72,11.93)))
self_bias.add(gdstk.Reference(vias_gen_19, (1.82,12.46)))
self_bias.add(gdstk.Reference(vias_gen_14, (9.82,4.71)))
self_bias.add(gdstk.Reference(vias_gen_14, (12.72,4.71)))
self_bias.add(gdstk.Reference(vias_gen_14, (15.72,4.71)))
self_bias.add(gdstk.Reference(vias_gen_14, (7.03,4.71)))
self_bias.add(gdstk.Reference(vias_gen_14, (4.02,4.71)))
self_bias.add(gdstk.Reference(vias_gen_14, (1.13,4.71)))
self_bias.add(gdstk.Reference(vias_gen_23, (1.12,-0.5)))
self_bias.add(gdstk.Reference(vias_gen_14, (11.5,2.01)))
self_bias.add(gdstk.Reference(vias_gen_14, (14.28,2.01)))
self_bias.add(gdstk.Reference(vias_gen_24, (7.03,2.23)))
self_bias.add(gdstk.Reference(vias_gen_24, (4.03,2.23)))
self_bias.add(gdstk.Reference(vias_gen_24, (1.12,2.23)))
self_bias.add(gdstk.Reference(vias_gen_24, (16.33,5.77)))
self_bias.add(gdstk.Reference(vias_gen_24, (17.12,1.48)))
self_bias.add(gdstk.Reference(vias_gen_27, (25.2,-0.46)))
self_bias.add(gdstk.Label('VDD', (9.91,10.215), layer=68, texttype=5))
self_bias.add(gdstk.Label('VDD', (12.81,10.215), layer=68, texttype=5))
self_bias.add(gdstk.Label('VDD', (15.81,10.32), layer=68, texttype=5))
self_bias.add(gdstk.Label('VDD', (18.81,10.405), layer=68, texttype=5))
self_bias.add(gdstk.Label('VDD', (21.82,10.32), layer=68, texttype=5))
self_bias.add(gdstk.Label('VDD', (24.81,10.405), layer=68, texttype=5))
self_bias.add(gdstk.Label('VDD', (27.71,10.405), layer=68, texttype=5))
self_bias.add(gdstk.Label('VDD', (1.97,12.65), layer=68, texttype=5))
self_bias.add(gdstk.Label('VSS', (1.31,3.345), layer=68, texttype=5))
self_bias.add(gdstk.Label('VSS', (4.21,3.345), layer=68, texttype=5))
self_bias.add(gdstk.Label('VSS', (7.21,3.345), layer=68, texttype=5))
self_bias.add(gdstk.Label('VSS', (9.925,5.23), layer=68, texttype=5))
self_bias.add(gdstk.Label('VSS', (12.91,5.135), layer=68, texttype=5))
self_bias.add(gdstk.Label('VSS', (15.91,5.21), layer=68, texttype=5))
self_bias.add(gdstk.Label('VR', (18.92,2.22), layer=68, texttype=5))
self_bias.add(gdstk.Label('VR', (21.82,2.22), layer=68, texttype=5))
self_bias.add(gdstk.Label('VR', (24.82,2.41), layer=68, texttype=5))
self_bias.add(gdstk.Label('VR', (27.72,2.41), layer=68, texttype=5))
self_bias.add(gdstk.Label('vdi', (11.31,10.27), layer=68, texttype=5))
self_bias.add(gdstk.Label('vdi', (14.31,10.27), layer=68, texttype=5))
self_bias.add(gdstk.Label('vdi', (17.31,10.215), layer=68, texttype=5))
self_bias.add(gdstk.Label('vgp_self', (20.31,11.125), layer=68, texttype=5))
self_bias.add(gdstk.Label('vgp_self', (23.31,10.935), layer=68, texttype=5))
self_bias.add(gdstk.Label('vgp_self', (26.31,11.295), layer=68, texttype=5))
self_bias.add(gdstk.Label('vdi', (11.325,5.23), layer=68, texttype=5))
self_bias.add(gdstk.Label('vdi', (17.31,5.135), layer=68, texttype=5))
self_bias.add(gdstk.Label('vdi', (14.41,5.325), layer=68, texttype=5))
self_bias.add(gdstk.Label('vdinv', (8.61,3.175), layer=68, texttype=5))
self_bias.add(gdstk.Label('vdinv', (7.33,9.11), layer=68, texttype=5))
self_bias.add(gdstk.Label('vdinv', (2.71,3.345), layer=68, texttype=5))
self_bias.add(gdstk.Label('vdinv', (5.71,3.535), layer=68, texttype=5))
self_bias.add(gdstk.Label('vgp_self', (20.32,2.16), layer=68, texttype=5))
self_bias.add(gdstk.Label('vgp_self', (23.32,2.15), layer=68, texttype=5))
self_bias.add(gdstk.Label('vgp_self', (26.32,2.22), layer=68, texttype=5))
self_bias.add(gdstk.Label('VR', (25.01,-0.24), layer=68, texttype=5))
self_bias.add(gdstk.Label('VSS', (1.99,-0.38), layer=68, texttype=5))
self_bias.add(gdstk.Label('vdi', (19.485,1.645), layer=68, texttype=5))
self_bias.add(gdstk.Label('vdi', (20.985,1.645), layer=68, texttype=5))
self_bias.add(gdstk.Label('vdi', (22.485,1.645), layer=68, texttype=5))
self_bias.add(gdstk.Label('vdi', (23.985,1.645), layer=68, texttype=5))
self_bias.add(gdstk.Label('vdi', (25.485,1.645), layer=68, texttype=5))
self_bias.add(gdstk.Label('vdi', (27.155,1.645), layer=68, texttype=5))
self_bias.add(gdstk.Label('VR', (10.575,6.05), layer=68, texttype=5))
self_bias.add(gdstk.Label('VR', (12.245,6.05), layer=68, texttype=5))
self_bias.add(gdstk.Label('VR', (13.745,6.05), layer=68, texttype=5))
self_bias.add(gdstk.Label('VR', (15.245,6.05), layer=68, texttype=5))
self_bias.add(gdstk.Label('VR', (16.575,6.05), layer=68, texttype=5))
self_bias.add(gdstk.Label('vgp_self', (10.285,13.355), layer=68, texttype=5))
self_bias.add(gdstk.Label('vgp_self', (12.145,13.355), layer=68, texttype=5))
self_bias.add(gdstk.Label('vgp_self', (13.39,13.38), layer=68, texttype=5))
self_bias.add(gdstk.Label('vgp_self', (15.06,13.35), layer=68, texttype=5))
self_bias.add(gdstk.Label('vgp_self', (16.835,13.355), layer=68, texttype=5))
self_bias.add(gdstk.Label('vgp_self', (18.145,13.355), layer=68, texttype=5))
self_bias.add(gdstk.Label('vgp_self', (19.475,13.355), layer=68, texttype=5))
self_bias.add(gdstk.Label('vgp_self', (21.145,13.355), layer=68, texttype=5))
self_bias.add(gdstk.Label('vgp_self', (22.56,13.44), layer=68, texttype=5))
self_bias.add(gdstk.Label('vgp_self', (24.145,13.355), layer=68, texttype=5))
self_bias.add(gdstk.Label('vgp_self', (25.475,13.355), layer=68, texttype=5))
self_bias.add(gdstk.Label('vgp_self', (26.975,13.355), layer=68, texttype=5))
self_bias.add(gdstk.Label('VR', (7.875,5.985), layer=68, texttype=5))
self_bias.add(gdstk.Label('VR', (6.375,5.985), layer=68, texttype=5))
self_bias.add(gdstk.Label('VR', (4.875,5.985), layer=68, texttype=5))
self_bias.add(gdstk.Label('VR', (3.545,5.985), layer=68, texttype=5))
self_bias.add(gdstk.Label('VR', (2.045,5.985), layer=68, texttype=5))
self_bias.add(gdstk.Label('VR', (4.195,8.475), layer=68, texttype=5))
self_bias.add(gdstk.Label('VSS', (14.47,2.39), layer=68, texttype=5))
self_bias.add(gdstk.Label('VSS', (11.67,2.39), layer=68, texttype=5))
self_bias.add(gdstk.Label('vgp_self', (13.05,2.435), layer=68, texttype=5))
self_bias.add(gdstk.Label('vdinv', (12.25,1.575), layer=68, texttype=5))
self_bias.add(gdstk.Label('vdinv', (13.81,1.575), layer=68, texttype=5))
self_bias.add(gdstk.Label('vp1', (1.915,9.085), layer=68, texttype=5))
self_bias.add(gdstk.Label('vp2', (7.3,9.88), layer=68, texttype=5))
self_bias.add(gdstk.Label('vp3', (2,10.95), layer=68, texttype=5))
self_bias.add(gdstk.Label('vp4', (7.3,11.85), layer=68, texttype=5))

lib.write_gds('self_bias.gds')
